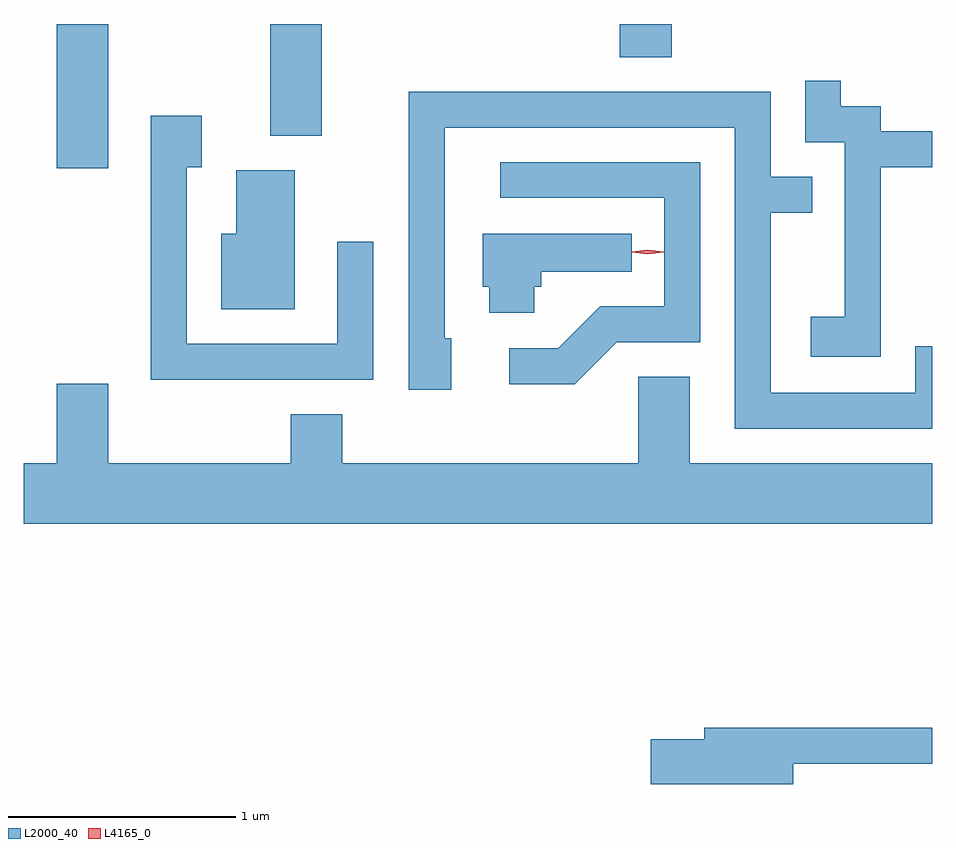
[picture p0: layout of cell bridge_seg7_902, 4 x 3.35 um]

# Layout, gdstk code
import gdstk
lib = gdstk.Library(unit=1e-6, precision=1e-09)
def R(c, l, rs):  # rectangles x0, y0, x1, y1
    for r in rs: c.add(gdstk.rectangle(r[:2], r[2:], *l))
def P(c, l, *ps):  # polygons
    for p in ps: c.add(gdstk.Polygon(p, *l))
L2000_40 = (2000, 40)
L4165_0 = (4165, 0)

bridge_seg7_902 = lib.new_cell('bridge_seg7_902')
R(bridge_seg7_902, L2000_40, [(555.271,1695.901,555.499,1696.537), (556.211,1696.046,556.439,1696.537), (557.751,1696.391,557.979,1696.537)])
P(bridge_seg7_902, L2000_40, [(558.899,1695.906),(559.126,1695.906),(559.126,1696.064),(558.899,1696.064),(558.899,1696.174),(558.724,1696.174),(558.724,1696.288),(558.566,1696.288),(558.566,1696.016),(558.741,1696.016),(558.741,1695.249),(558.591,1695.249),(558.591,1695.071),(558.899,1695.071)],
  [(559.126,1695.119),(559.051,1695.119),(559.051,1694.914),(558.414,1694.914),(558.414,1695.706),(558.598,1695.706),(558.598,1695.864),(558.414,1695.864),(558.414,1696.239),(556.821,1696.239),(556.821,1694.926),(557.009,1694.926),(557.009,1695.154),(556.979,1695.154),(556.979,1696.081),(558.256,1696.081),(558.256,1694.756),(559.126,1694.756)],
  [(556.664,1695.578),(556.506,1695.578),(556.506,1695.129),(555.844,1695.129),(555.844,1695.906),(555.909,1695.906),(555.909,1696.134),(555.686,1696.134),(555.686,1694.971),(556.664,1694.971)],
  [(557.737,1695.136),(558.104,1695.136),(558.104,1695.929),(557.223,1695.929),(557.223,1695.771),(557.946,1695.771),(557.946,1695.294),(557.664,1695.294),(557.479,1695.109),(557.263,1695.109),(557.263,1694.951),(557.552,1694.951)],
  [(556.319,1695.894),(556.061,1695.894),(556.061,1695.614),(555.996,1695.614),(555.996,1695.281),(556.319,1695.281)],
  [(557.374,1695.381),(557.404,1695.381),(557.404,1695.446),(557.803,1695.446),(557.803,1695.614),(557.146,1695.614),(557.146,1695.381),(557.176,1695.381),(557.176,1695.266),(557.374,1695.266)],
  [(559.126,1694.604),(558.059,1694.604),(558.059,1694.984),(557.831,1694.984),(557.831,1694.604),(556.529,1694.604),(556.529,1694.819),(556.301,1694.819),(556.301,1694.604),(555.499,1694.604),(555.499,1694.954),(555.271,1694.954),(555.271,1694.604),(555.126,1694.604),(555.126,1694.336),(559.126,1694.336)],
  [(558.514,1693.281),(559.126,1693.281),(559.126,1693.439),(558.121,1693.439),(558.121,1693.389),(557.886,1693.389),(557.886,1693.191),(558.514,1693.191)])
P(bridge_seg7_902, L4165_0, [(557.874,1695.523),(557.807,1695.533),(557.807,1695.533),(557.807,1695.534),(557.874,1695.543),(557.94,1695.534),(557.941,1695.533),(557.94,1695.533)],
  [(557.874,1695.524),(557.804,1695.533),(557.804,1695.534),(557.804,1695.534),(557.874,1695.544),(557.943,1695.534),(557.943,1695.534),(557.943,1695.533)])

lib.write_gds('bridge_seg7_902.gds')
